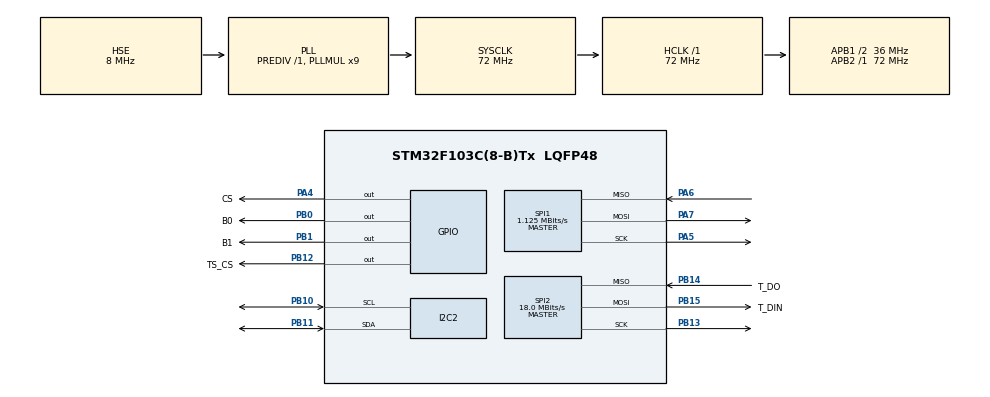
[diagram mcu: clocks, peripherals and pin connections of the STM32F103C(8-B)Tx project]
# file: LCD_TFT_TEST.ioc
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Mcu.Family=STM32F1
Mcu.Name=STM32F103C(8-B)Tx
Mcu.Package=LQFP48
NVIC.PriorityGroup=NVIC_PRIORITYGROUP_4
NVIC.SPI1_IRQn=true\:0\:0\:false\:false\:true\:true
PA13.Mode=Serial_Wire
PA13.Signal=SYS_JTMS-SWDIO
PA14.Mode=Serial_Wire
PA14.Signal=SYS_JTCK-SWCLK
PA4.GPIO_Label=CS
PA4.GPIO_ModeDefaultOutputPP=GPIO_MODE_OUTPUT_PP
PA4.GPIO_Speed=GPIO_SPEED_FREQ_HIGH
PA4.PinState=GPIO_PIN_RESET
PA4.Signal=GPIO_Output
PA5.Mode=Full_Duplex_Master
PA5.Signal=SPI1_SCK
PA6.Mode=Full_Duplex_Master
PA6.Signal=SPI1_MISO
PA7.Mode=Full_Duplex_Master
PA7.Signal=SPI1_MOSI
PB0.GPIO_Label=B0
PB0.Signal=GPIO_Output
PB1.GPIO_Label=B1
PB1.GPIO_Speed=GPIO_SPEED_FREQ_HIGH
PB1.Signal=GPIO_Output
PB10.Mode=I2C
PB10.Signal=I2C2_SCL
PB11.Mode=I2C
PB11.Signal=I2C2_SDA
PB12.GPIO_Label=TS_CS
PB12.GPIO_Speed=GPIO_SPEED_FREQ_HIGH
PB12.Signal=GPIO_Output
PB13.Mode=Full_Duplex_Master
PB13.Signal=SPI2_SCK
PB14.GPIO_Label=T_DO
PB14.Mode=Full_Duplex_Master
PB14.Signal=SPI2_MISO
PB15.GPIO_Label=T_DIN
PB15.Mode=Full_Duplex_Master
PB15.Signal=SPI2_MOSI
PD0-OSC_IN.Mode=HSE-External-Oscillator
PD0-OSC_IN.Signal=RCC_OSC_IN
PD1-OSC_OUT.Mode=HSE-External-Oscillator
PD1-OSC_OUT.Signal=RCC_OSC_OUT
ProjectManager.HeapSize=0x200
ProjectManager.StackSize=0x400
ProjectManager.TargetToolchain=MDK-ARM V5
RCC.AHBFreq_Value=72000000
RCC.APB1CLKDivider=RCC_HCLK_DIV2
RCC.APB1Freq_Value=36000000
RCC.APB1TimFreq_Value=72000000
RCC.APB2Freq_Value=72000000
RCC.APB2TimFreq_Value=72000000
RCC.HCLKFreq_Value=72000000
RCC.PLLMUL=RCC_PLL_MUL9
RCC.PLLSourceVirtual=RCC_PLLSOURCE_HSE
RCC.SYSCLKFreq_VALUE=72000000
RCC.SYSCLKSource=RCC_SYSCLKSOURCE_PLLCLK
RCC.USBFreq_Value=72000000
SPI1.BaudRatePrescaler=SPI_BAUDRATEPRESCALER_64
SPI1.CalculateBaudRate=1.125 MBits/s
SPI1.Direction=SPI_DIRECTION_2LINES
SPI1.Mode=SPI_MODE_MASTER
SPI1.VirtualType=VM_MASTER
SPI2.CalculateBaudRate=18.0 MBits/s
SPI2.Direction=SPI_DIRECTION_2LINES
SPI2.Mode=SPI_MODE_MASTER
SPI2.VirtualType=VM_MASTER
board=LCD_TFT_TEST

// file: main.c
/**
  ******************************************************************************
  * File Name          : main.c
  * Description        : Main program body
  ******************************************************************************
  ** This notice applies to any and all portions of this file
  * that are not between comment pairs USER CODE BEGIN and
  * USER CODE END. Other portions of this file, whether
  * inserted by the user or by software development tools
  * are owned by their respective copyright owners.
  *
  * COPYRIGHT(c) 2019 STMicroelectronics
  *
  * Redistribution and use in source and binary forms, with or without modification,
  * are permitted provided that the following conditions are met:
  *   1. Redistributions of source code must retain the above copyright notice,
  *      this list of conditions and the following disclaimer.
  *   2. Redistributions in binary form must reproduce the above copyright notice,
  *      this list of conditions and the following disclaimer in the documentation
  *      and/or other materials provided with the distribution.
  *   3. Neither the name of STMicroelectronics nor the names of its contributors
  *      may be used to endorse or promote products derived from this software
  *      without specific prior written permission.
  *
  * THIS SOFTWARE IS PROVIDED BY THE COPYRIGHT HOLDERS AND CONTRIBUTORS "AS IS"
  * AND ANY EXPRESS OR IMPLIED WARRANTIES, INCLUDING, BUT NOT LIMITED TO, THE
  * IMPLIED WARRANTIES OF MERCHANTABILITY AND FITNESS FOR A PARTICULAR PURPOSE ARE
  * DISCLAIMED. IN NO EVENT SHALL THE COPYRIGHT HOLDER OR CONTRIBUTORS BE LIABLE
  * FOR ANY DIRECT, INDIRECT, INCIDENTAL, SPECIAL, EXEMPLARY, OR CONSEQUENTIAL
  * DAMAGES (INCLUDING, BUT NOT LIMITED TO, PROCUREMENT OF SUBSTITUTE GOODS OR
  * SERVICES; LOSS OF USE, DATA, OR PROFITS; OR BUSINESS INTERRUPTION) HOWEVER
  * CAUSED AND ON ANY THEORY OF LIABILITY, WHETHER IN CONTRACT, STRICT LIABILITY,
  * OR TORT (INCLUDING NEGLIGENCE OR OTHERWISE) ARISING IN ANY WAY OUT OF THE USE
  * OF THIS SOFTWARE, EVEN IF ADVISED OF THE POSSIBILITY OF SUCH DAMAGE.
  *
  ******************************************************************************
  */

#include "main.h"
#include "stm32f1xx_hal.h"
#include "tft_spi.h"
#include "TSC2046.h"
#include "dwt_delay.h"
#include "string.h"

I2C_HandleTypeDef hi2c2;

SPI_HandleTypeDef hspi1;
SPI_HandleTypeDef hspi2;

/* USER CODE BEGIN PV */
/* Private variables ---------------------------------------------------------*/
GPIO_InitTypeDef GPIO_InitStruct;
extern uint16_t BACK_COLOR, POINT_COLOR;
extern __IO uint32_t systimedelay;
float temp;
TS_TOUCH_DATA_Def my_TS_Handle;
char DATA[10];
/* USER CODE END PV */

void SystemClock_Config(void);
static void MX_GPIO_Init(void);
static void MX_SPI1_Init(void);
static void MX_I2C2_Init(void);
static void MX_SPI2_Init(void);

/* USER CODE BEGIN PFP */
/* Private function prototypes -----------------------------------------------*/
extern void Delay_10us(uint32_t t);

extern void Delay_10us(uint32_t t)
{
	systimedelay = t;
	while(systimedelay != 0);
}

void gpio_set_input (void)
{
  GPIO_InitStruct.Pin = GPIO_PIN_6;
  GPIO_InitStruct.Mode = GPIO_MODE_INPUT;
  GPIO_InitStruct.Pull = GPIO_PULLUP;
  HAL_GPIO_Init(GPIOB,&GPIO_InitStruct);
}
void gpio_set_output (void)
{
  GPIO_InitStruct.Pin = GPIO_PIN_6;
  GPIO_InitStruct.Mode = GPIO_MODE_OUTPUT_PP;
  GPIO_InitStruct.Pull = GPIO_NOPULL;
  GPIO_InitStruct.Speed = GPIO_SPEED_FREQ_LOW;
  HAL_GPIO_Init(GPIOB,&GPIO_InitStruct);
}
uint8_t DS18B20_ReadByte(void)
{
    uint8_t i=0;
    uint8_t data=0;

    for(i=8;i>0;i--)
    {
        gpio_set_output();   // Cau hinh chan DQ la OUPUT
        HAL_GPIO_WritePin(GPIOB, GPIO_PIN_6,0);  // Keo chan DQ xuong muc '0'
        data>>=1;
        HAL_GPIO_WritePin(GPIOB, GPIO_PIN_6, 1);  // Keo chan DQ len muc '1'
        gpio_set_input();   // Cau hinh chan DQ la INPUT
        if(HAL_GPIO_ReadPin(GPIOB, GPIO_PIN_6))data|=0x80;   // Nhan du lieu tra ve tu DS18B20
        DWT_Delay(100);
    }
    return(data);
}
void DS18B20_WriteByte(uint8_t data)
{
    uint8_t i=0;
    gpio_set_output();   // Cau hinh chan DQ la OUTPUT
    for (i=8;i>0;i--)
    {
        HAL_GPIO_WritePin(GPIOB, GPIO_PIN_6,0);  // Keo chan DQ xuong muc '0'
        HAL_GPIO_WritePin(GPIOB, GPIO_PIN_6,data&0x01); // Viet du lieu vao DS18B20
				DWT_Delay(40);
        HAL_GPIO_WritePin(GPIOB, GPIO_PIN_6, 1);  // Keo chan DQ len muc '1'
        data>>=1;
    }
}
void DS18B20_Init(void)
{
    gpio_set_output();   // Cau hinh chan DQ la OUTPUT
    HAL_GPIO_WritePin(GPIOB, GPIO_PIN_6,0);  // Keo DQ xuong muc '0' trong khoang 480us
    DWT_Delay(480);
    gpio_set_input();   // Cau hinh chan DQ la INPUT trong khoang 480us
    DWT_Delay(480);
}
void DS18B20_WriteFunc(uint8_t byte_func)
{
    DS18B20_Init();                 // Khoi tao DS18B20
    DS18B20_WriteByte(0xCC);  // Truy cap thang den cac lenh chuc nang bo nho cua DS18B20
    DS18B20_WriteByte(byte_func);   // Viet ma lenh chuc nang
}
void DS18B20_Config(uint8_t temp_low, uint8_t temp_high, uint8_t resolution)
{
    resolution=(resolution<<5)|0x1f;
    DS18B20_WriteFunc(0x4E);        // Cho phep ghi 3 byte vao bo nho nhap:
		DS18B20_WriteByte(temp_high);   // byte 2: Th
		DS18B20_WriteByte(temp_low);    // byte 3: Tl
		DS18B20_WriteByte(resolution);  // byte 4: configuration register
    DS18B20_WriteFunc(0x48);        // Ghi vao EEPROM
}
float DS18B20_ReadTemp(void)
{
	//HAL_RTC_GetTime(&hrtc,&sTime,RTC_FORMAT_BIN);
  float temp;
	uint8_t buff_temp1,buff_temp2;
	DS18B20_WriteFunc(0x44);  // Khoi dong qua trinh do va chuyen doi nhiet do ra so nhi phan
  DWT_Delay(180);
	DS18B20_WriteFunc(0xBE);   // Doc du lieu tu bo nho DS18b20
	buff_temp1 = DS18B20_ReadByte();
	temp=((float)(buff_temp1&0x0f))/16;		    // Lay phan thuc cua gia tri nhiet do
	buff_temp2 = DS18B20_ReadByte();
	buff_temp1 =((buff_temp1&0xf0)>>4)|((buff_temp2&0x0f)<<4) ;	// Lay phan nguyen cua gia tri nhiet do
	temp=temp+buff_temp1;
	return temp;
}
/* USER CODE END PFP */

int main(void)
{

  /* MCU Configuration----------------------------------------------------------*/

  /* Reset of all peripherals, Initializes the Flash interface and the Systick. */
  HAL_Init();

  /* Configure the system clock */
  SystemClock_Config();
	HAL_SYSTICK_Config(HAL_RCC_GetHCLKFreq()/1000);

  /* Initialize all configured peripherals */
  MX_GPIO_Init();
  MX_SPI1_Init();
  MX_I2C2_Init();
  MX_SPI2_Init();

  /* USER CODE BEGIN 2 */

	tft_init();
	TSC2046_Begin(&hspi2,TS_CS_GPIO_Port,TS_CS_Pin);
	tft_clear(DARKBLUE);
	//TSC2046_Calibrate();
	DWT_Init();
  /* USER CODE END 2 */

  /* Infinite loop */
  /* USER CODE BEGIN WHILE */
  while (1)
  {
		/*my_TS_Handle = TSC2046_GetTouchData();
		if(my_TS_Handle.X > 40)
			{
				BACK_COLOR = WHITE;
				POINT_COLOR = LBBLUE;
				tft_draw_circle(20,20,5);
			}*/
		temp=DS18B20_ReadTemp();
		BACK_COLOR = DARKBLUE;
		POINT_COLOR = BROWN;
		tft_puts14x24(130,45,(int8_t*) "TEMPERATURE",TFT_STRING_MODE_BACKGROUND);
		BACK_COLOR = RED;
		POINT_COLOR = BLACK;
		sprintf(DATA,"%.02f",temp);
		tft_puts26x48(170,54,(int8_t*) DATA,TFT_STRING_MODE_BACKGROUND);
		tft_putchar26x48(170,60,223,0);
		/*BACK_COLOR = WHITE;
		POINT_COLOR = RED;
		tft_puts14x24(25,3,(int8_t*) "Thai Tong Son",TFT_STRING_MODE_BACKGROUND);

		BACK_COLOR = WHITE;
		POINT_COLOR = GREEN;
		tft_puts26x48(60,3,(int8_t*) "Thanh Hai",TFT_STRING_MODE_BACKGROUND);

		BACK_COLOR = WHITE;
		POINT_COLOR = BLACK;
		tft_puts18x32(120,3,(int8_t*) "Quang Phuoc",TFT_STRING_MODE_BACKGROUND);

		BACK_COLOR = WHITE;
		POINT_COLOR = LIGHTBLUE;
		tft_puts14x24(170,3,(int8_t*) "Minh Hieu",TFT_STRING_MODE_BACKGROUND);*/
  /* USER CODE END WHILE */

  }

}

/** System Clock Configuration
*/
void SystemClock_Config(void)
{

  RCC_OscInitTypeDef RCC_OscInitStruct;
  RCC_ClkInitTypeDef RCC_ClkInitStruct;

    /**Initializes the CPU, AHB and APB busses clocks
    */
  RCC_OscInitStruct.OscillatorType = RCC_OSCILLATORTYPE_HSE;
  RCC_OscInitStruct.HSEState = RCC_HSE_ON;
  RCC_OscInitStruct.HSEPredivValue = RCC_HSE_PREDIV_DIV1;
  RCC_OscInitStruct.HSIState = RCC_HSI_ON;
  RCC_OscInitStruct.PLL.PLLState = RCC_PLL_ON;
  RCC_OscInitStruct.PLL.PLLSource = RCC_PLLSOURCE_HSE;
  RCC_OscInitStruct.PLL.PLLMUL = RCC_PLL_MUL9;
  if (HAL_RCC_OscConfig(&RCC_OscInitStruct) != HAL_OK)
  {
    _Error_Handler(__FILE__, __LINE__);
  }

    /**Initializes the CPU, AHB and APB busses clocks
    */
  RCC_ClkInitStruct.ClockType = RCC_CLOCKTYPE_HCLK|RCC_CLOCKTYPE_SYSCLK
                              |RCC_CLOCKTYPE_PCLK1|RCC_CLOCKTYPE_PCLK2;
  RCC_ClkInitStruct.SYSCLKSource = RCC_SYSCLKSOURCE_PLLCLK;
  RCC_ClkInitStruct.AHBCLKDivider = RCC_SYSCLK_DIV1;
  RCC_ClkInitStruct.APB1CLKDivider = RCC_HCLK_DIV2;
  RCC_ClkInitStruct.APB2CLKDivider = RCC_HCLK_DIV1;

  if (HAL_RCC_ClockConfig(&RCC_ClkInitStruct, FLASH_LATENCY_2) != HAL_OK)
  {
    _Error_Handler(__FILE__, __LINE__);
  }

    /**Configure the Systick interrupt time
    */
	HAL_SYSTICK_Config(HAL_RCC_GetHCLKFreq()/1000);
    /**Configure the Systick
    */
  HAL_SYSTICK_CLKSourceConfig(SYSTICK_CLKSOURCE_HCLK);

  /* SysTick_IRQn interrupt configuration */
  HAL_NVIC_SetPriority(SysTick_IRQn, 0, 0);
}

/* I2C2 init function */
static void MX_I2C2_Init(void)
{

  hi2c2.Instance = I2C2;
  hi2c2.Init.ClockSpeed = 100000;
  hi2c2.Init.DutyCycle = I2C_DUTYCYCLE_2;
  hi2c2.Init.OwnAddress1 = 0;
  hi2c2.Init.AddressingMode = I2C_ADDRESSINGMODE_7BIT;
  hi2c2.Init.DualAddressMode = I2C_DUALADDRESS_DISABLE;
  hi2c2.Init.OwnAddress2 = 0;
  hi2c2.Init.GeneralCallMode = I2C_GENERALCALL_DISABLE;
  hi2c2.Init.NoStretchMode = I2C_NOSTRETCH_DISABLE;
  if (HAL_I2C_Init(&hi2c2) != HAL_OK)
  {
    _Error_Handler(__FILE__, __LINE__);
  }

}

/* SPI1 init function */
static void MX_SPI1_Init(void)
{

  /* SPI1 parameter configuration*/
  hspi1.Instance = SPI1;
  hspi1.Init.Mode = SPI_MODE_MASTER;
  hspi1.Init.Direction = SPI_DIRECTION_2LINES;
  hspi1.Init.DataSize = SPI_DATASIZE_8BIT;
  hspi1.Init.CLKPolarity = SPI_POLARITY_LOW;
  hspi1.Init.CLKPhase = SPI_PHASE_1EDGE;
  hspi1.Init.NSS = SPI_NSS_SOFT;
  hspi1.Init.BaudRatePrescaler = SPI_BAUDRATEPRESCALER_64;
  hspi1.Init.FirstBit = SPI_FIRSTBIT_MSB;
  hspi1.Init.TIMode = SPI_TIMODE_DISABLE;
  hspi1.Init.CRCCalculation = SPI_CRCCALCULATION_DISABLE;
  hspi1.Init.CRCPolynomial = 10;
  if (HAL_SPI_Init(&hspi1) != HAL_OK)
  {
    _Error_Handler(__FILE__, __LINE__);
  }

}

/* SPI2 init function */
static void MX_SPI2_Init(void)
{

  /* SPI2 parameter configuration*/
  hspi2.Instance = SPI2;
  hspi2.Init.Mode = SPI_MODE_MASTER;
  hspi2.Init.Direction = SPI_DIRECTION_2LINES;
  hspi2.Init.DataSize = SPI_DATASIZE_8BIT;
  hspi2.Init.CLKPolarity = SPI_POLARITY_LOW;
  hspi2.Init.CLKPhase = SPI_PHASE_1EDGE;
  hspi2.Init.NSS = SPI_NSS_SOFT;
  hspi2.Init.BaudRatePrescaler = SPI_BAUDRATEPRESCALER_2;
  hspi2.Init.FirstBit = SPI_FIRSTBIT_MSB;
  hspi2.Init.TIMode = SPI_TIMODE_DISABLE;
  hspi2.Init.CRCCalculation = SPI_CRCCALCULATION_DISABLE;
  hspi2.Init.CRCPolynomial = 10;
  if (HAL_SPI_Init(&hspi2) != HAL_OK)
  {
    _Error_Handler(__FILE__, __LINE__);
  }

}

/** Configure pins as
        * Analog
        * Input
        * Output
        * EVENT_OUT
        * EXTI
*/
static void MX_GPIO_Init(void)
{

  GPIO_InitTypeDef GPIO_InitStruct;

  /* GPIO Ports Clock Enable */
  __HAL_RCC_GPIOD_CLK_ENABLE();
  __HAL_RCC_GPIOA_CLK_ENABLE();
  __HAL_RCC_GPIOB_CLK_ENABLE();

  /*Configure GPIO pin Output Level */
  HAL_GPIO_WritePin(CS_GPIO_Port, CS_Pin, GPIO_PIN_RESET);

  /*Configure GPIO pin Output Level */
  HAL_GPIO_WritePin(GPIOB, B0_Pin|B1_Pin|TS_CS_Pin, GPIO_PIN_RESET);

  /*Configure GPIO pin : CS_Pin */
  GPIO_InitStruct.Pin = CS_Pin;
  GPIO_InitStruct.Mode = GPIO_MODE_OUTPUT_PP;
  GPIO_InitStruct.Speed = GPIO_SPEED_FREQ_HIGH;
  HAL_GPIO_Init(CS_GPIO_Port, &GPIO_InitStruct);

  /*Configure GPIO pin : B0_Pin */
  GPIO_InitStruct.Pin = B0_Pin;
  GPIO_InitStruct.Mode = GPIO_MODE_OUTPUT_PP;
  GPIO_InitStruct.Speed = GPIO_SPEED_FREQ_LOW;
  HAL_GPIO_Init(B0_GPIO_Port, &GPIO_InitStruct);

  /*Configure GPIO pins : B1_Pin TS_CS_Pin */
  GPIO_InitStruct.Pin = B1_Pin|TS_CS_Pin;
  GPIO_InitStruct.Mode = GPIO_MODE_OUTPUT_PP;
  GPIO_InitStruct.Speed = GPIO_SPEED_FREQ_HIGH;
  HAL_GPIO_Init(GPIOB, &GPIO_InitStruct);

}

void _Error_Handler(char * file, int line)
{
  while(1)
  {
  }
}

/************************ (C) COPYRIGHT STMicroelectronics *****END OF FILE****/
